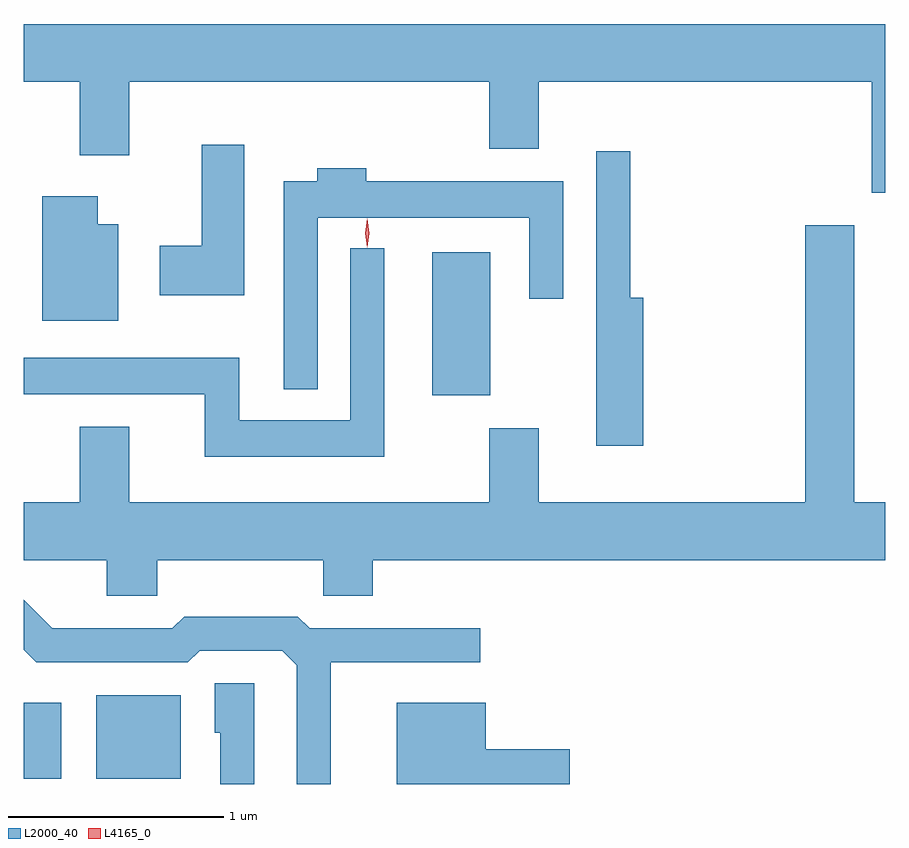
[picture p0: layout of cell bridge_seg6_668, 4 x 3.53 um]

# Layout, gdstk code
import gdstk
lib = gdstk.Library(unit=1e-6, precision=1e-09)
def R(c, l, rs):  # rectangles x0, y0, x1, y1
    for r in rs: c.add(gdstk.rectangle(r[:2], r[2:], *l))
def P(c, l, *ps):  # polygons
    for p in ps: c.add(gdstk.Polygon(p, *l))
L2000_40 = (2000, 40)
L4165_0 = (4165, 0)

bridge_seg6_668 = lib.new_cell('bridge_seg6_668')
R(bridge_seg6_668, L2000_40, [(309.189,1575.661,309.364,1576.014), (309.526,1575.661,309.919,1576.049), (311.086,1577.441,311.354,1578.104)])
P(bridge_seg6_668, L2000_40, [(313.189,1579.164),(309.189,1579.164),(309.189,1578.896),(309.451,1578.896),(309.451,1578.556),(309.679,1578.556),(309.679,1578.896),(311.351,1578.896),(311.351,1578.586),(311.579,1578.586),(311.579,1578.896),(313.126,1578.896),(313.126,1578.381),(313.189,1578.381)],
  [(310.214,1578.604),(310.016,1578.604),(310.016,1578.134),(309.821,1578.134),(309.821,1577.906),(310.214,1577.906)],
  [(312.064,1577.894),(312.004,1577.894),(312.004,1578.573),(311.846,1578.573),(311.846,1577.206),(312.064,1577.206)],
  [(310.554,1578.266),(311.536,1578.266),(311.536,1577.888),(311.694,1577.888),(311.694,1578.434),(310.779,1578.434),(310.779,1578.494),(310.551,1578.494),(310.551,1578.434),(310.396,1578.434),(310.396,1577.468),(310.554,1577.468)],
  [(309.629,1578.234),(309.534,1578.234),(309.534,1578.364),(309.276,1578.364),(309.276,1577.786),(309.629,1577.786)],
  [(309.576,1576.511),(309.809,1576.511),(309.809,1576.676),(310.581,1576.676),(310.581,1576.511),(310.809,1576.511),(310.809,1576.676),(313.189,1576.676),(313.189,1576.944),(313.044,1576.944),(313.044,1578.229),(312.816,1578.229),(312.816,1576.944),(311.579,1576.944),(311.579,1577.289),(311.351,1577.289),(311.351,1576.944),(309.679,1576.944),(309.679,1577.294),(309.451,1577.294),(309.451,1576.944),(309.189,1576.944),(309.189,1576.676),(309.576,1576.676)],
  [(310.864,1578.123),(310.706,1578.123),(310.706,1577.324),(310.189,1577.324),(310.189,1577.614),(309.189,1577.614),(309.189,1577.446),(310.031,1577.446),(310.031,1577.156),(310.864,1577.156)],
  [(310.614,1576.201),(311.308,1576.201),(311.308,1576.359),(310.517,1576.359),(310.462,1576.414),(309.934,1576.414),(309.879,1576.359),(309.322,1576.359),(309.189,1576.492),(309.189,1576.261),(309.249,1576.201),(309.952,1576.201),(310.007,1576.256),(310.389,1576.256),(310.456,1576.189),(310.456,1575.637),(310.614,1575.637)],
  [(310.259,1576.104),(310.076,1576.104),(310.076,1575.876),(310.101,1575.876),(310.101,1575.637),(310.259,1575.637)],
  [(311.724,1575.799),(311.334,1575.799),(311.334,1576.014),(310.921,1576.014),(310.921,1575.637),(311.724,1575.637)])
P(bridge_seg6_668, L4165_0, [(310.783,1578.127),(310.774,1578.194),(310.783,1578.26),(310.784,1578.261),(310.784,1578.26),(310.794,1578.194),(310.784,1578.127),(310.784,1578.127)])

lib.write_gds('bridge_seg6_668.gds')
